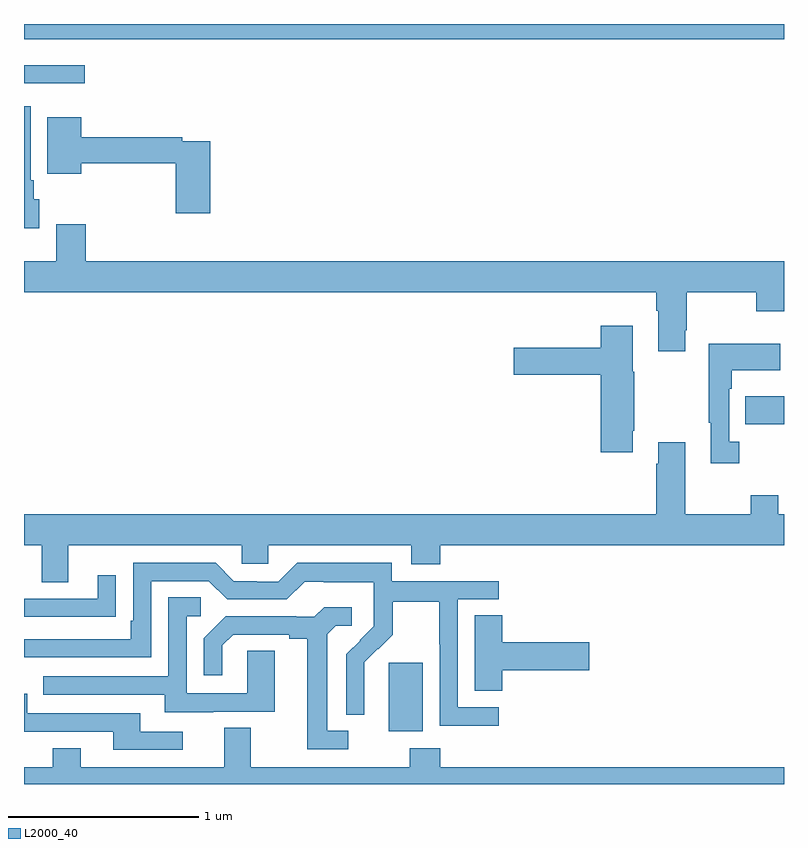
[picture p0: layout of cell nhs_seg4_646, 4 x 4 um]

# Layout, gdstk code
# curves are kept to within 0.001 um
import gdstk
lib = gdstk.Library(unit=1e-6, precision=1e-09)
def R(c, l, rs):  # rectangles x0, y0, x1, y1
    for r in rs: c.add(gdstk.rectangle(r[:2], r[2:], *l))
def P(c, l, *ps):  # polygons
    for p in ps: c.add(gdstk.Polygon(p, *l))
L2000_40 = (2000, 40)

nhs_seg4_646 = lib.new_cell('nhs_seg4_646')
R(nhs_seg4_646, L2000_40, [(144.92,793.178,145.099,793.539), (146.797,794.794,147,794.941), (143,796.587,143.32,796.684), (143,796.82,147,796.9)])
P(nhs_seg4_646, L2000_40, [(143.08,795.978),(143.05,795.978),(143.05,796.078),(143.035,796.078),(143.035,796.468),(143,796.468),(143,795.824),(143.08,795.824)],
  [(143.981,796.284),(143.834,796.284),(143.834,796.304),(143.302,796.304),(143.302,796.408),(143.123,796.408),(143.123,796.112),(143.302,796.112),(143.302,796.168),(143.798,796.168),(143.798,795.903),(143.981,795.903)],
  [(146.479,795.289),(146.487,795.289),(146.487,795.488),(146.854,795.488),(146.854,795.389),(147,795.389),(147,795.652),(143.324,795.652),(143.324,795.847),(143.171,795.847),(143.171,795.652),(143,795.652),(143,795.488),(146.327,795.488),(146.327,795.392),(146.339,795.392),(146.339,795.177),(146.479,795.177)],
  [(146.203,794.758),(146.211,794.758),(146.211,795.069),(146.203,795.069),(146.203,795.313),(146.036,795.313),(146.036,795.195),(145.578,795.195),(145.578,795.053),(146.036,795.053),(146.036,794.646),(146.203,794.646)],
  [(146.764,794.702),(146.712,794.702),(146.712,794.981),(146.725,794.981),(146.725,795.077),(146.981,795.077),(146.981,795.217),(146.604,795.217),(146.604,794.801),(146.615,794.801),(146.615,794.589),(146.764,794.589)],
  [(143.233,794.156),(144.147,794.156),(144.147,794.058),(144.285,794.058),(144.285,794.156),(145.037,794.156),(145.037,794.057),(145.19,794.057),(145.19,794.156),(147,794.156),(147,794.32),(146.971,794.32),(146.971,794.419),(146.824,794.419),(146.824,794.32),(146.479,794.32),(146.479,794.698),(146.339,794.698),(146.339,794.585),(146.327,794.585),(146.327,794.32),(143,794.32),(143,794.156),(143.093,794.156),(143.093,793.962),(143.233,793.962)],
  [(145.498,793.305),(145.284,793.305),(145.284,793.872),(145.498,793.872),(145.498,793.968),(144.936,793.968),(144.936,794.065),(144.439,794.065),(144.339,793.965),(144.224,793.965),(144.224,793.968),(144.105,793.968),(144.009,794.064),(143.574,794.064),(143.574,793.759),(143.561,793.759),(143.561,793.662),(143,793.662),(143,793.566),(143.67,793.566),(143.67,793.968),(143.973,793.968),(144.069,793.872),(144.384,793.872),(144.477,793.965),(144.577,793.965),(144.577,793.961),(144.84,793.961),(144.84,793.827),(144.842,793.827),(144.842,793.73),(144.696,793.582),(144.696,793.264),(144.792,793.264),(144.791,793.541),(144.861,793.611),(144.864,793.608),(144.941,793.685),(144.941,793.86),(145.186,793.86),(145.186,793.636),(145.188,793.636),(145.188,793.207),(145.498,793.207)],
  [(143.381,793.78),(143.483,793.78),(143.483,793.999),(143.387,793.999),(143.387,793.875),(143,793.875),(143,793.779),(143.381,793.779)],
  [(143.995,793.281),(144.319,793.281),(144.319,793.601),(144.174,793.601),(144.174,793.377),(143.856,793.377),(143.856,793.782),(143.929,793.782),(143.929,793.883),(143.76,793.883),(143.76,793.467),(143.101,793.467),(143.101,793.371),(143.741,793.371),(143.741,793.277),(143.995,793.277)],
  [(144.706,793.179),(144.595,793.179),(144.595,793.687),(144.642,793.734),(144.724,793.734),(144.724,793.831),(144.58,793.831),(144.528,793.779),(144.434,793.779),(144.434,793.782),(144.062,793.782),(143.946,793.666),(143.946,793.473),(144.043,793.473),(144.043,793.629),(144.1,793.686),(144.395,793.686),(144.395,793.664),(144.491,793.664),(144.491,793.083),(144.706,793.083)],
  [(145.517,793.499),(145.975,793.499),(145.975,793.646),(145.517,793.646),(145.517,793.787),(145.373,793.787),(145.373,793.39),(145.517,793.39)],
  [(143.836,793.176),(143.611,793.176),(143.611,793.272),(143.016,793.272),(143.016,793.375),(143,793.375),(143,793.176),(143.471,793.176),(143.471,793.08),(143.836,793.08)],
  [(147,792.988),(145.19,792.988),(145.19,793.087),(145.03,793.087),(145.03,792.988),(144.193,792.988),(144.193,793.196),(144.053,793.196),(144.053,792.988),(143.299,792.988),(143.299,793.087),(143.152,793.087),(143.152,792.988),(143,792.988),(143,792.9),(147,792.9)])

lib.write_gds('nhs_seg4_646.gds')
